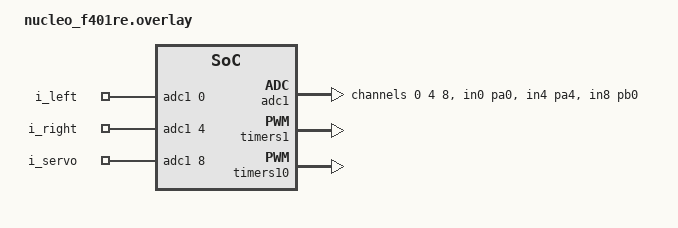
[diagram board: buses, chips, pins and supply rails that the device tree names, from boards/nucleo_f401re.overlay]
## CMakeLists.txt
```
cmake_minimum_required(VERSION 3.20.0)
find_package(Zephyr REQUIRED HINTS $ENV{ZEPHYR_BASE})
project(current_sensor_app)

target_sources(app PRIVATE src/main.c)
```

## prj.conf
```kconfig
CONFIG_ADC=y
CONFIG_PWM=y
CONFIG_GPIO=y
CONFIG_SERIAL=y
CONFIG_FPU=y
```

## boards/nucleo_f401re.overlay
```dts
/*
 * current_sensor_app - Nucleo-F401RE
 *
 * Pins match PINMAP.md so this app can be merged with the others:
 *   PA0  ADC1_IN0  <- left motor current sensor
 *   PA4  ADC1_IN4  <- right motor current sensor
 *   PB0  ADC1_IN8  <- servo current sensor
 *   PA10 TIM1_CH3  -> L298N ENA + ENB (to spin / stall the motors)
 *   PB8  TIM10_CH1 -> steering servo
 */

#include <zephyr/dt-bindings/adc/adc.h>

/ {
    zephyr,user {
        io-channels = <&adc1 0>, <&adc1 4>, <&adc1 8>;
        io-channel-names = "i_left", "i_right", "i_servo";
    };
};

/* I2C1 claims PB8/PB9 by default; PB8 is the servo. */
&i2c1 {
    status = "disabled";
};

&adc1 {
    #address-cells = <1>;
    #size-cells = <0>;
    pinctrl-0 = <&adc1_in0_pa0 &adc1_in4_pa4 &adc1_in8_pb0>;
    pinctrl-names = "default";
    status = "okay";

    channel@0 {
        reg = <0>;
        zephyr,gain = "ADC_GAIN_1";
        zephyr,reference = "ADC_REF_INTERNAL";
        zephyr,acquisition-time = <ADC_ACQ_TIME_MAX>;
        zephyr,resolution = <12>;
    };

    channel@4 {
        reg = <4>;
        zephyr,gain = "ADC_GAIN_1";
        zephyr,reference = "ADC_REF_INTERNAL";
        zephyr,acquisition-time = <ADC_ACQ_TIME_MAX>;
        zephyr,resolution = <12>;
    };

    channel@8 {
        reg = <8>;
        zephyr,gain = "ADC_GAIN_1";
        zephyr,reference = "ADC_REF_INTERNAL";
        zephyr,acquisition-time = <ADC_ACQ_TIME_MAX>;
        zephyr,resolution = <12>;
    };
};

&timers1 {
    status = "okay";

    pwm1: pwm {
        status = "okay";
        pinctrl-0 = <&tim1_ch3_pa10>;
        pinctrl-names = "default";
    };
};

&timers10 {
    status = "okay";
    st,prescaler = <83>;

    pwm10: pwm {
        status = "okay";
        pinctrl-0 = <&tim10_ch1_pb8>;
        pinctrl-names = "default";
    };
};
```

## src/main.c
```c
/*
 * current_sensor_app - lab 3.5 current sensor bench test (Nucleo-F401RE)
 *
 * Reads the three current sensors at 1 kHz, converts to mA, filters, and
 * prints them. The user button steps through the three sanity-check
 * conditions and prints a summary for each, so you get the three numbers
 * per sensor the lab asks for.
 *
 * Pins (see PINMAP.md):
 *   PA0  ADC1_IN0  <- left motor current
 *   PA4  ADC1_IN4  <- right motor current
 *   PB0  ADC1_IN8  <- servo current
 *   PA10 TIM1_CH3  -> L298N ENA + ENB (speed PWM)
 *   PC0  GPIO      -> L298N IN1 + IN3
 *   PA11 GPIO      -> L298N IN2 + IN4
 *   PB8  TIM10_CH1 -> steering servo
 *   PC13 GPIO      <- user button (active low), steps the test
 *
 * Test steps (button advances):
 *   REST   motors coast, servo held at center
 *   FREE   motors driven open loop, wheels off the ground; servo sweeps
 *   STALL  hold the wheels and the steering BEFORE pressing; motors driven,
 *          servo pushed toward full left. Cuts out on its own after
 *          STALL_MAX_MS so nothing is held stalled for long.
 *
 * Serial console (ST-LINK COM port, 115200) keys:
 *   f   cycle the display filter (shows its time constant)
 *   z   re-zero the sensors (only with everything at rest)
 *   s   servo range sweep (REST only): steps the servo out from center on each
 *       side until its current rises (it has hit the stop), then prints safe
 *       left/right limits. Keep hands off the steering.
 *
 * Fault thresholds (requirements DD-17 / DD-18, report only, no action):
 *   open circuit  < 50 mA for 200 ms while PWM >= 20%
 *   overload      > 2000 mA for 20 ms
 * Unplug a motor during FREE to check the open-circuit threshold.
 *
 * Conversion (linear sensor, see the table below):
 *   V_sensor = V_adc * divider
 *   I        = (V_sensor - V_zero) / sensitivity
 * V_zero is measured at boot with everything off, so the sensitivity is
 * the only number you need from the sensor datasheet.
 */

#include <zephyr/kernel.h>
#include <zephyr/device.h>
#include <zephyr/drivers/adc.h>
#include <zephyr/drivers/pwm.h>
#include <zephyr/drivers/gpio.h>
#include <zephyr/drivers/uart.h>

/* ------------------------------------------------------------------ */
/* Hardware                                                           */
/* ------------------------------------------------------------------ */

#define USER_NODE DT_PATH(zephyr_user)

static const struct adc_dt_spec adc_chans[] = {
    ADC_DT_SPEC_GET_BY_NAME(USER_NODE, i_left),
    ADC_DT_SPEC_GET_BY_NAME(USER_NODE, i_right),
    ADC_DT_SPEC_GET_BY_NAME(USER_NODE, i_servo),
};
#define NUM_CH  3
BUILD_ASSERT(ARRAY_SIZE(adc_chans) == NUM_CH);

static const struct device *motor_pwm = DEVICE_DT_GET(DT_NODELABEL(pwm1));
static const struct device *servo_pwm = DEVICE_DT_GET(DT_NODELABEL(pwm10));
static const struct device *gpioa_dev = DEVICE_DT_GET(DT_NODELABEL(gpioa));
static const struct device *gpioc_dev = DEVICE_DT_GET(DT_NODELABEL(gpioc));
static const struct device *console   = DEVICE_DT_GET(DT_CHOSEN(zephyr_console));

#define MOTOR_CHANNEL      3      /* TIM1_CH3 on PA10 */
#define PWM_PERIOD_CYCLES  4200   /* 84 MHz / 4200 = 20 kHz, same as motor app */
#define IN1_PIN            0      /* PC0  */
#define IN2_PIN            11     /* PA11 */
#define BUTTON_PIN         13     /* PC13, active low */

#define SERVO_CHANNEL      1      /* TIM10_CH1 on PB8 */
#define SERVO_PERIOD_US    20000
#define SERVO_LEFT_US      1300   /* keep in sync with servo_app */
#define SERVO_CENTER_US    1500
#define SERVO_RIGHT_US     1700

/* ------------------------------------------------------------------ */
/* Sensors - fill in from the datasheet and your wiring               */
/* ------------------------------------------------------------------ */

#define ADC_VREF_MV   3300.0f     /* VREF+ = VDDA = 3.3 V on the Nucleo */
#define ADC_FULL      4096.0f     /* 12 bit */

struct sensor_cal {
    const char *name;
    float mv_per_a;     /* sensitivity at the sensor output. PLACEHOLDER */
    float divider;      /* sensor V / ADC pin V (1.0 = wired directly)   */
};

/* ACS712ELC-05B: 185 mV/A, powered from 5 V, zero-current output ~2.5 V.
 * Each OUT goes through a 47k/47k divider (with 100 nF to GND) to the ADC
 * pin so it never sees more than 3.3 V: divider = (R1 + R2) / R2 = 2.0. */
static const struct sensor_cal cal[] = {
    { "L", 185.0f, 2.0f },
    { "R", 185.0f, 2.0f },
    { "S", 185.0f, 2.0f },
};

/* ------------------------------------------------------------------ */
/* Timing                                                             */
/* ------------------------------------------------------------------ */

#define SAMPLE_PERIOD_US   1000   /* 1 kHz per channel */
#define PRINT_EVERY        250    /* samples -> 250 ms */
#define ZERO_SAMPLES       500
#define SETTLE_MS          300    /* skip inrush when averaging a step */
#define STALL_MAX_MS       1500   /* lab: never more than a second or two */

#define FREE_DUTY          0.8f   /* open loop, wheels off the ground; DD-15 max 80% */
#define STALL_DUTY         0.8f   /* DD-15 max 80%; L298N ~2 A/ch, stall stays under 1.5 s */

/* Fault thresholds from the requirements (DD-17, DD-18). Nothing acts on
 * them here; the app only reports when a reading would have tripped one,
 * so the thresholds can be checked against real hardware. */
#define OPEN_MA            50     /* DD-17: below 0.05 A ...          */
#define OPEN_MIN_DUTY      0.2f   /*        ... while PWM >= 20% ...  */
#define OPEN_MS            200    /*        ... for 200 ms            */
#define OVERLOAD_MA        2000   /* DD-18: above 2.0 A ...           */
#define OVERLOAD_MS        20     /*        ... for 20 ms             */
#define NUM_MOTOR_CH       2      /* L and R; servo has no DD thresholds */
#define SWEEP_PERIOD_MS    2000

static const float filter_alphas[] = { 1.0f, 0.3f, 0.1f, 0.03f, 0.01f };
#define NUM_ALPHAS ARRAY_SIZE(filter_alphas)

/* ------------------------------------------------------------------ */
/* Helpers                                                            */
/* ------------------------------------------------------------------ */

static float clampf(float x, float lo, float hi)
{
    return x < lo ? lo : (x > hi ? hi : x);
}

static int read_raw(const struct adc_dt_spec *ch, int16_t *raw)
{
    struct adc_sequence seq = {
        .buffer = raw,
        .buffer_size = sizeof(*raw),
    };

    adc_sequence_init_dt(ch, &seq);
    return adc_read_dt(ch, &seq);
}

/* Millivolts at the sensor output (before any divider). */
static float raw_to_sensor_mv(int i, int16_t raw)
{
    return raw * (ADC_VREF_MV / ADC_FULL) * cal[i].divider;
}

static float mv_to_ma(int i, float mv, float zero_mv)
{
    return (mv - zero_mv) * 1000.0f / cal[i].mv_per_a;
}

/* Current represented by one ADC count. */
static float lsb_ma(int i)
{
    return (ADC_VREF_MV / ADC_FULL) * cal[i].divider * 1000.0f / cal[i].mv_per_a;
}

/* Approximate time constant of the EMA filter: T * (1 - alpha) / alpha.
 * This is the lag you pay for the smoothing. */
static int filter_tau_ms(float alpha)
{
    return (int)((SAMPLE_PERIOD_US / 1000.0f) * (1.0f - alpha) / alpha + 0.5f);
}

static float absf(float x)
{
    return x < 0.0f ? -x : x;
}

/* ------------------------------------------------------------------ */
/* Outputs                                                            */
/* ------------------------------------------------------------------ */

static void motor_forward(float duty)
{
    gpio_pin_set(gpioc_dev, IN1_PIN, 1);
    gpio_pin_set(gpioa_dev, IN2_PIN, 0);
    duty = clampf(duty, 0.0f, 1.0f);
    pwm_set_cycles(motor_pwm, MOTOR_CHANNEL, PWM_PERIOD_CYCLES,
                   (uint32_t)(duty * PWM_PERIOD_CYCLES), 0);
}

static void motor_coast(void)
{
    pwm_set_cycles(motor_pwm, MOTOR_CHANNEL, PWM_PERIOD_CYCLES, 0, 0);
}

static void servo_write_us(int32_t us)
{
    pwm_set(servo_pwm, SERVO_CHANNEL, PWM_USEC(SERVO_PERIOD_US), PWM_USEC(us), 0);
}

static void servo_off(void)
{
    pwm_set(servo_pwm, SERVO_CHANNEL, PWM_USEC(SERVO_PERIOD_US), 0, 0);
}

/* Triangle wave between the steering limits. */
static int32_t sweep_us(int64_t t_ms)
{
    int32_t half = SWEEP_PERIOD_MS / 2;
    int32_t ph = (int32_t)(t_ms % SWEEP_PERIOD_MS);
    int32_t span = SERVO_RIGHT_US - SERVO_LEFT_US;

    if (ph < half) {
        return SERVO_LEFT_US + (span * ph) / half;
    }
    return SERVO_RIGHT_US - (span * (ph - half)) / half;
}

/* ------------------------------------------------------------------ */
/* Statistics                                                         */
/* ------------------------------------------------------------------ */

/* Noise over one print window, on unfiltered samples. */
struct window_stats {
    int16_t raw_min, raw_max;
    float sum, sum_sq;
    int n;
};

static void window_reset(struct window_stats *w)
{
    w->raw_min = INT16_MAX;
    w->raw_max = INT16_MIN;
    w->sum = 0.0f;
    w->sum_sq = 0.0f;
    w->n = 0;
}

static void window_add(struct window_stats *w, int16_t raw, float ma)
{
    w->raw_min = MIN(w->raw_min, raw);
    w->raw_max = MAX(w->raw_max, raw);
    w->sum += ma;
    w->sum_sq += ma * ma;
    w->n++;
}

/* Summary of one test step, on unfiltered samples. */
struct step_stats {
    float sum;          /* settled samples only */
    int n;
    float peak;         /* largest magnitude, including inrush */
};

static void step_reset(struct step_stats *s)
{
    s->sum = 0.0f;
    s->n = 0;
    s->peak = 0.0f;
}

static void step_add(struct step_stats *s, float ma, bool settled)
{
    if (settled) {
        s->sum += ma;
        s->n++;
    }
    if (absf(ma) > absf(s->peak)) {
        s->peak = ma;
    }
}

/* ------------------------------------------------------------------ */
/* Test sequence                                                      */
/* ------------------------------------------------------------------ */

enum step_kind { STEP_REST, STEP_FREE, STEP_STALL };

static const char *const step_names[] = { "REST", "FREE", "STALL" };
#define NUM_STEPS 3

static void print_step_summary(enum step_kind kind, const struct step_stats *st)
{
    printk("=== %s summary (mA): ", step_names[kind]);
    for (int i = 0; i < NUM_CH; i++) {
        int mean = st[i].n ? (int)(st[i].sum / st[i].n) : 0;
        printk("%s mean=%d peak=%d  ", cal[i].name, mean, (int)st[i].peak);
    }
    printk("\n");
}

static void announce_step(enum step_kind kind)
{
    switch (kind) {
    case STEP_REST:
        printk("step -> REST: motors coast, servo centered\n");
        break;
    case STEP_FREE:
        printk("step -> FREE: wheels OFF the ground, motors at %d%%, servo sweeping\n",
               (int)(FREE_DUTY * 100));
        break;
    case STEP_STALL:
        printk("step -> STALL: holding wheels + steering, cuts out after %d ms\n",
               STALL_MAX_MS);
        break;
    }
}

/* ------------------------------------------------------------------ */
/* Main                                                               */
/* ------------------------------------------------------------------ */

/* ------------------------------------------------------------------ */
/* Servo range finder (console key 's', REST step only)               */
/* ------------------------------------------------------------------ */
/* From center, step the servo pulse outward one side at a time and measure
 * the servo current at each step. Mid-travel the current is small; once the
 * linkage hits its stop the servo stalls and the current climbs. The first
 * step whose current stays RANGE_TRIP_MA above the center baseline for
 * RANGE_CONFIRM steps marks the stop; the reported limit backs off from it by
 * RANGE_BACKOFF_STEPS. Time spent pushing against the stop is about
 * RANGE_CONFIRM * (RANGE_SETTLE_MS + RANGE_MEASURE_MS), well under a second. */

#define RANGE_STEP_US        10
#define RANGE_SETTLE_MS      120
#define RANGE_MEASURE_MS     80       /* samples at 1 kHz, averaged */
#define RANGE_TRIP_MA        120.0f   /* rise over the center baseline = at the stop */
#define RANGE_CONFIRM        2        /* consecutive steps above the trip level */
#define RANGE_BACKOFF_STEPS  3        /* extra steps of margin from the first trip */
#define RANGE_LIMIT_US       700      /* never go farther than center +/- this */

static float servo_avg_mv(int ms)
{
    float sum = 0.0f;

    for (int n = 0; n < ms; n++) {
        int16_t raw = 0;
        read_raw(&adc_chans[2], &raw);
        sum += raw_to_sensor_mv(2, raw);
        k_usleep(SAMPLE_PERIOD_US);
    }
    return sum / ms;
}

/* dir: -1 = left (shorter pulse), +1 = right (longer pulse).
 * Returns the safe limit pulse in us, or the outer limit if no stop was found. */
static int32_t find_servo_limit(int dir, float base_mv, bool *found)
{
    int hits = 0;
    int32_t first_hit_us = 0;

    *found = false;
    for (int32_t off = RANGE_STEP_US; off <= RANGE_LIMIT_US; off += RANGE_STEP_US) {
        int32_t us = SERVO_CENTER_US + dir * off;

        servo_write_us(us);
        k_msleep(RANGE_SETTLE_MS);
        float ma = absf(mv_to_ma(2, servo_avg_mv(RANGE_MEASURE_MS), base_mv));
        printk("  %s %d us: %d mA\n", dir < 0 ? "left " : "right", (int)us, (int)ma);

        if (ma > RANGE_TRIP_MA) {
            if (hits++ == 0) {
                first_hit_us = us;
            }
            if (hits >= RANGE_CONFIRM) {
                *found = true;
                return first_hit_us - dir * (1 + RANGE_BACKOFF_STEPS) * RANGE_STEP_US;
            }
        } else {
            hits = 0;
        }
    }
    return SERVO_CENTER_US + dir * RANGE_LIMIT_US;
}

static void print_limit(const char *name, int32_t us, bool found)
{
    int d10 = (int)((us - 500) * 0.09f * 10.0f + 0.5f);     /* servo deg x10 */

    printk("%s limit: %d us (%d.%d deg)%s\n", name, (int)us, d10 / 10, d10 % 10,
           found ? "" : "  [no stop found, outer limit]");
}

static void servo_range_sweep(void)
{
    bool found_l, found_r;

    printk("=== servo range sweep: keep hands off the steering ===\n");
    motor_coast();
    servo_write_us(SERVO_CENTER_US);
    k_msleep(800);
    float base_mv = servo_avg_mv(300);

    int32_t left = find_servo_limit(-1, base_mv, &found_l);
    servo_write_us(SERVO_CENTER_US);
    k_msleep(800);
    int32_t right = find_servo_limit(+1, base_mv, &found_r);
    servo_write_us(SERVO_CENTER_US);

    printk("=== servo range result (trip %d mA, backoff %d us) ===\n",
           (int)RANGE_TRIP_MA, RANGE_BACKOFF_STEPS * RANGE_STEP_US);
    print_limit("left ", left, found_l);
    print_limit("right", right, found_r);
    printk("use: SERVO_LEFT_DEG = %d, SERVO_RIGHT_DEG = %d (control.c)\n",
           (int)((left - 500) * 0.09f + 0.5f), (int)((right - 500) * 0.09f + 0.5f));
}

/* Consecutive-sample qualifier: reports once when a condition has held
 * for its full duration, re-arms when the condition clears. */
struct qualifier {
    int held_ms;
    bool reported;
};

static void qualify(struct qualifier *q, bool cond, int need_ms,
                    const char *what, const char *ch, float ma)
{
    if (!cond) {
        q->held_ms = 0;
        q->reported = false;
        return;
    }
    q->held_ms += SAMPLE_PERIOD_US / 1000;
    if (q->held_ms >= need_ms && !q->reported) {
        q->reported = true;
        printk("!! %s would trip on %s (now %d mA, held %d ms)\n",
               what, ch, (int)ma, q->held_ms);
    }
}

static float zero_mv[NUM_CH];

/* Average the sensors with everything off to find the zero-current output. */
static void calibrate_zero(void)
{
    float sum[NUM_CH] = { 0 };

    motor_coast();
    servo_off();
    k_msleep(200);

    for (int n = 0; n < ZERO_SAMPLES; n++) {
        for (int i = 0; i < NUM_CH; i++) {
            int16_t raw = 0;
            read_raw(&adc_chans[i], &raw);
            sum[i] += raw_to_sensor_mv(i, raw);
        }
        k_usleep(SAMPLE_PERIOD_US);
    }

    printk("zero (sensor mV):");
    for (int i = 0; i < NUM_CH; i++) {
        zero_mv[i] = sum[i] / ZERO_SAMPLES;
        printk(" %s=%d", cal[i].name, (int)zero_mv[i]);
    }
    printk("\n");
}

int main(void)
{
    for (int i = 0; i < NUM_CH; i++) {
        if (!adc_is_ready_dt(&adc_chans[i]) ||
            adc_channel_setup_dt(&adc_chans[i]) < 0) {
            printk("ERROR: ADC channel %s not ready\n", cal[i].name);
            return 0;
        }
    }
    if (!device_is_ready(motor_pwm) || !device_is_ready(servo_pwm) ||
        !device_is_ready(gpioa_dev) || !device_is_ready(gpioc_dev) ||
        !device_is_ready(console)) {
        printk("ERROR: device not ready\n");
        return 0;
    }

    gpio_pin_configure(gpioc_dev, IN1_PIN, GPIO_OUTPUT_INACTIVE);
    gpio_pin_configure(gpioa_dev, IN2_PIN, GPIO_OUTPUT_INACTIVE);
    gpio_pin_configure(gpioc_dev, BUTTON_PIN, GPIO_INPUT);
    motor_coast();

    printk("current_sensor_app ready. ADC 12 bit, ref %d mV\n", (int)ADC_VREF_MV);
    for (int i = 0; i < NUM_CH; i++) {
        printk("  %s: %d mV/A, divider x%d.%02d, 1 LSB = %d.%02d mA\n",
               cal[i].name, (int)cal[i].mv_per_a,
               (int)cal[i].divider, (int)(cal[i].divider * 100) % 100,
               (int)lsb_ma(i), (int)(lsb_ma(i) * 100) % 100);
    }

    calibrate_zero();

    enum step_kind step = STEP_REST;
    int64_t step_start_ms = k_uptime_get();
    bool stall_done = false;
    bool prev_pressed = false;
    int64_t last_button_ms = 0;

    size_t alpha_idx = 2;
    float filt[NUM_CH] = { 0 };
    struct window_stats win[NUM_CH];
    struct step_stats st[NUM_CH];
    int print_div = 0;
    struct qualifier open_q[NUM_MOTOR_CH] = { 0 };
    struct qualifier over_q[NUM_MOTOR_CH] = { 0 };

    for (int i = 0; i < NUM_CH; i++) {
        window_reset(&win[i]);
        step_reset(&st[i]);
    }

    printk("filter alpha=%d%% (tau ~%d ms). keys: f filter, z re-zero\n",
           (int)(filter_alphas[alpha_idx] * 100),
           filter_tau_ms(filter_alphas[alpha_idx]));
    announce_step(step);

    struct k_timer tick;
    k_timer_init(&tick, NULL, NULL);
    k_timer_start(&tick, K_USEC(SAMPLE_PERIOD_US), K_USEC(SAMPLE_PERIOD_US));

    while (1) {
        k_timer_status_sync(&tick);
        int64_t now_ms = k_uptime_get();
        int64_t in_step_ms = now_ms - step_start_ms;

        /* Serial keys */
        unsigned char c;
        if (uart_poll_in(console, &c) == 0) {
            if (c == 'f') {
                alpha_idx = (alpha_idx + 1) % NUM_ALPHAS;
                printk("filter alpha=%d%% (tau ~%d ms)\n",
                       (int)(filter_alphas[alpha_idx] * 100),
                       filter_tau_ms(filter_alphas[alpha_idx]));
            } else if (c == 'z') {
                if (step == STEP_REST) {
                    calibrate_zero();
                    for (int i = 0; i < NUM_CH; i++) {
                        filt[i] = 0.0f;
                    }
                } else {
                    printk("re-zero only in REST\n");
                }
            } else if (c == 's') {
                if (step == STEP_REST) {
                    servo_range_sweep();
                    for (int i = 0; i < NUM_CH; i++) {
                        filt[i] = 0.0f;
                        window_reset(&win[i]);
                        step_reset(&st[i]);
                    }
                    step_start_ms = k_uptime_get();
                } else {
                    printk("range sweep only in REST\n");
                }
            }
        }

        /* Button: finish the current step, start the next.
         * Sampled every 20 ms, which debounces it. */
        bool pressed = prev_pressed;
        if (now_ms - last_button_ms >= 20) {
            last_button_ms = now_ms;
            pressed = (gpio_pin_get(gpioc_dev, BUTTON_PIN) == 0);
        }
        if (pressed && !prev_pressed) {
            if (!(step == STEP_STALL && stall_done)) {
                print_step_summary(step, st);
            }
            step = (step + 1) % NUM_STEPS;
            step_start_ms = now_ms;
            in_step_ms = 0;
            stall_done = false;
            for (int i = 0; i < NUM_CH; i++) {
                step_reset(&st[i]);
            }
            announce_step(step);
        }
        prev_pressed = pressed;

        /* Stall time limit */
        if (step == STEP_STALL && !stall_done && in_step_ms >= STALL_MAX_MS) {
            stall_done = true;
            motor_coast();
            servo_write_us(SERVO_CENTER_US);
            printk("stall time limit reached, outputs off - let go\n");
            print_step_summary(step, st);
        }

        /* Outputs */
        float duty = 0.0f;
        switch (step) {
        case STEP_REST:
            motor_coast();
            servo_write_us(SERVO_CENTER_US);
            break;
        case STEP_FREE:
            duty = FREE_DUTY;
            motor_forward(duty);
            servo_write_us(sweep_us(in_step_ms));
            break;
        case STEP_STALL:
            if (!stall_done) {
                duty = STALL_DUTY;
                motor_forward(duty);
                servo_write_us(SERVO_LEFT_US);
            }
            break;
        }

        /* Measure */
        bool settled = in_step_ms >= SETTLE_MS;
        bool recording = !(step == STEP_STALL && stall_done);
        float alpha = filter_alphas[alpha_idx];

        for (int i = 0; i < NUM_CH; i++) {
            int16_t raw = 0;
            if (read_raw(&adc_chans[i], &raw) < 0) {
                continue;
            }
            float ma = mv_to_ma(i, raw_to_sensor_mv(i, raw), zero_mv[i]);

            filt[i] += alpha * (ma - filt[i]);
            window_add(&win[i], raw, ma);
            if (recording) {
                step_add(&st[i], ma, settled);
            }
            if (i < NUM_MOTOR_CH) {
                qualify(&open_q[i], duty >= OPEN_MIN_DUTY && absf(ma) < OPEN_MA,
                        OPEN_MS, "OPEN CIRCUIT (DD-17)", cal[i].name, ma);
                qualify(&over_q[i], absf(ma) > OVERLOAD_MA,
                        OVERLOAD_MS, "OVERLOAD (DD-18)", cal[i].name, ma);
            }
        }

        /* Print every PRINT_EVERY samples: filtered mA, window mean,
         * peak-to-peak noise (counts and mA), std dev. Integers only. */
        if (++print_div >= PRINT_EVERY) {
            print_div = 0;
            for (int i = 0; i < NUM_CH; i++) {
                struct window_stats *w = &win[i];
                float mean = w->n ? w->sum / w->n : 0.0f;
                float var = w->n ? w->sum_sq / w->n - mean * mean : 0.0f;
                int pp = w->n ? w->raw_max - w->raw_min : 0;

                printk("%s f=%d avg=%d pp=%dLSB/%dmA sd=%d | ",
                       cal[i].name, (int)filt[i], (int)mean,
                       pp, (int)(pp * lsb_ma(i)), (int)__builtin_sqrtf(MAX(var, 0.0f)));
                window_reset(w);
            }
            printk("\n");
        }
    }

    return 0;
}
```
